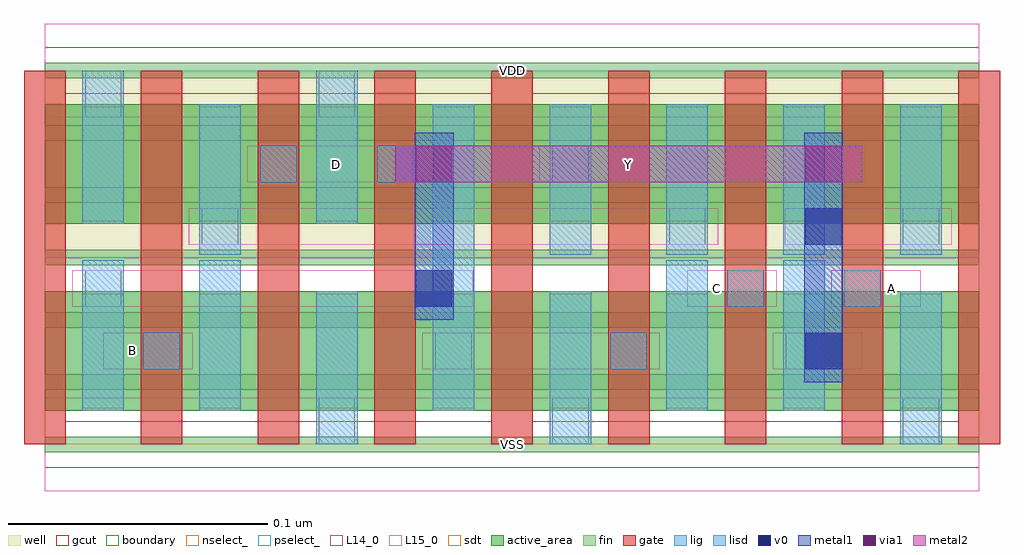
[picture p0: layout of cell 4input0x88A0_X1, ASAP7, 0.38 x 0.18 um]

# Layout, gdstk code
import gdstk
lib = gdstk.Library(unit=1e-6, precision=2.5e-10)
def R(c, l, rs):  # rectangles x0, y0, x1, y1
    for r in rs: c.add(gdstk.rectangle(r[:2], r[2:], *l))
def A(c, l, x, y, w, h, nx, ny, dx, dy):  # array of equal rectangles
    R(c, l, [(x+i*dx, y+j*dy, x+i*dx+w, y+j*dy+h) for i in range(nx) for j in range(ny)])
def P(c, l, *ps):  # polygons
    for p in ps: c.add(gdstk.Polygon(p, *l))
well = (1, 0)
fin = (2, 0)
gate = (7, 0)
gcut = (10, 0)
active_area = (11, 0)
nselect_ = (12, 0)
pselect_ = (13, 0)
L14_0 = (14, 0)
L15_0 = (15, 0)
lig = (16, 0)
lisd = (17, 0)
v0 = (18, 0)
metal1 = (19, 0)
metal2 = (20, 0)
via1 = (21, 0)
sdt = (88, 0)
boundary = (100, 0)

c_4input0x88a0_x1 = lib.new_cell('4input0x88A0_X1')
R(c_4input0x88a0_x1, well, [(0,0.072,0.36,0.144)])
A(c_4input0x88a0_x1, fin, 0, -0.003, 0.36, 0.006, 1, 7, 0, 0.024)
A(c_4input0x88a0_x1, gate, -0.008, 0, 0.016, 0.144, 9, 1, 0.045, 0)
P(c_4input0x88a0_x1, gcut, [(0,-0.009),(0,0),(-0.008,0),(-0.008,0.135),(0.008,0.135),(0.008,0.009),(0.172,0.009),(0.172,0.135),(0.188,0.135),(0.188,0.009),(0.352,0.009),(0.352,0.135),(-0.008,0.135),(-0.008,0.144),(0,0.144),(0,0.153),(0.36,0.153),(0.36,0.144),(0.368,0.144),(0.368,0),(0.36,0),(0.36,-0.009)])
R(c_4input0x88a0_x1, active_area, [(0,0.013,0.36,0.059), (0,0.085,0.36,0.131)])
R(c_4input0x88a0_x1, nselect_, [(0,0,0.36,0.072)])
R(c_4input0x88a0_x1, pselect_, [(0,0.072,0.36,0.144)])
A(c_4input0x88a0_x1, L14_0, 0.1505, 0.029, 0.014, 0.014, 3, 1, 0.0675, 0)
R(c_4input0x88a0_x1, L14_0, [(0.1055,0,0.1195,0.018), (0.1955,0,0.2095,0.018), (0.3305,0,0.3445,0.018), (0.038,0.029,0.052,0.043), (0.0155,0.053,0.0295,0.067), (0.263,0.053,0.277,0.067), (0.308,0.053,0.322,0.067), (0.0605,0.077,0.0745,0.091), (0.2405,0.077,0.2545,0.091), (0.3305,0.077,0.3445,0.091), (0.083,0.101,0.097,0.115), (0.128,0.101,0.142,0.115), (0.1955,0.101,0.2095,0.115), (0.2855,0.101,0.2995,0.115), (0.0155,0.126,0.0295,0.144), (0.1055,0.126,0.1195,0.144)])
R(c_4input0x88a0_x1, L15_0, [(0,-0.018,0.36,0.018), (0.0225,0.029,0.057,0.043), (0.1455,0.029,0.237,0.043), (0.2805,0.029,0.315,0.043), (0.0105,0.053,0.165,0.067), (0.2475,0.053,0.282,0.067), (0.303,0.053,0.3375,0.067), (0.0555,0.077,0.2595,0.091), (0.285,0.077,0.3495,0.091), (0.078,0.101,0.147,0.115), (0.1905,0.101,0.3045,0.115), (0,0.126,0.36,0.162)])
R(c_4input0x88a0_x1, lig, [(0.038,0.029,0.052,0.043), (0.218,0.029,0.232,0.043), (0.263,0.053,0.277,0.067), (0.308,0.053,0.322,0.067), (0.083,0.101,0.097,0.115), (0.128,0.101,0.142,0.115)])
A(c_4input0x88a0_x1, lisd, 0.1945, 0.073, 0.016, 0.058, 4, 1, 0.045, 0)
R(c_4input0x88a0_x1, lisd, [(0.1045,0,0.1205,0.059), (0.1945,0,0.2105,0.059), (0.3295,0,0.3455,0.059), (0.0145,0.013,0.0305,0.071), (0.0595,0.013,0.0755,0.071), (0.1495,0.013,0.1655,0.131), (0.2395,0.013,0.2555,0.071), (0.2845,0.013,0.3005,0.071), (0.0595,0.073,0.0755,0.131), (0.0145,0.085,0.0305,0.144), (0.1045,0.085,0.1205,0.144)])
R(c_4input0x88a0_x1, v0, [(0.293,0.029,0.307,0.043), (0.143,0.053,0.157,0.067), (0.293,0.077,0.307,0.091)])
R(c_4input0x88a0_x1, metal1, [(0.2925,0.024,0.3075,0.12), (0.1425,0.048,0.1575,0.12)])
R(c_4input0x88a0_x1, metal2, [(0.135,0.101,0.315,0.115)])
R(c_4input0x88a0_x1, via1, [(0.143,0.101,0.157,0.115), (0.293,0.101,0.307,0.115)])
A(c_4input0x88a0_x1, sdt, 0.0145, 0.014, 0.016, 0.044, 8, 2, 0.045, 0.072)
R(c_4input0x88a0_x1, boundary, [(0,0,0.36,0.144)])
c_4input0x88a0_x1.add(gdstk.Label('D', (0.1125,0.108), layer=15, texttype=251))
c_4input0x88a0_x1.add(gdstk.Label('VSS', (0.18,0), layer=15, texttype=251))
c_4input0x88a0_x1.add(gdstk.Label('VDD', (0.18,0.144), layer=15, texttype=251))
c_4input0x88a0_x1.add(gdstk.Label('VSS', (0.18,0), layer=15, texttype=251))
c_4input0x88a0_x1.add(gdstk.Label('VDD', (0.18,0.144), layer=15, texttype=251))
c_4input0x88a0_x1.add(gdstk.Label('C', (0.2587,0.06), layer=15, texttype=251))
c_4input0x88a0_x1.add(gdstk.Label('VSS', (0.18,0), layer=15, texttype=251))
c_4input0x88a0_x1.add(gdstk.Label('VDD', (0.18,0.144), layer=15, texttype=251))
c_4input0x88a0_x1.add(gdstk.Label('A', (0.3262,0.06), layer=15, texttype=251))
c_4input0x88a0_x1.add(gdstk.Label('VSS', (0.18,0), layer=15, texttype=251))
c_4input0x88a0_x1.add(gdstk.Label('VDD', (0.18,0.144), layer=15, texttype=251))
c_4input0x88a0_x1.add(gdstk.Label('B', (0.0338,0.036), layer=15, texttype=251))
c_4input0x88a0_x1.add(gdstk.Label('VSS', (0.18,0), layer=15, texttype=251))
c_4input0x88a0_x1.add(gdstk.Label('VDD', (0.18,0.144), layer=15, texttype=251))
c_4input0x88a0_x1.add(gdstk.Label('VSS', (0.18,0), layer=3, texttype=251))
c_4input0x88a0_x1.add(gdstk.Label('VSS', (0.18,0), layer=3, texttype=251))
c_4input0x88a0_x1.add(gdstk.Label('VSS', (0.18,0), layer=3, texttype=251))
c_4input0x88a0_x1.add(gdstk.Label('VSS', (0.18,0), layer=3, texttype=251))
c_4input0x88a0_x1.add(gdstk.Label('VSS', (0.18,0), layer=3, texttype=251))
c_4input0x88a0_x1.add(gdstk.Label('VDD', (0.18,0.144), layer=1, texttype=251))
c_4input0x88a0_x1.add(gdstk.Label('VDD', (0.18,0.144), layer=1, texttype=251))
c_4input0x88a0_x1.add(gdstk.Label('VDD', (0.18,0.144), layer=1, texttype=251))
c_4input0x88a0_x1.add(gdstk.Label('VDD', (0.18,0.144), layer=1, texttype=251))
c_4input0x88a0_x1.add(gdstk.Label('VDD', (0.18,0.144), layer=1, texttype=251))
c_4input0x88a0_x1.add(gdstk.Label('Y', (0.225,0.108), layer=20, texttype=251))

lib.write_gds('4input0x88A0_X1.gds')
